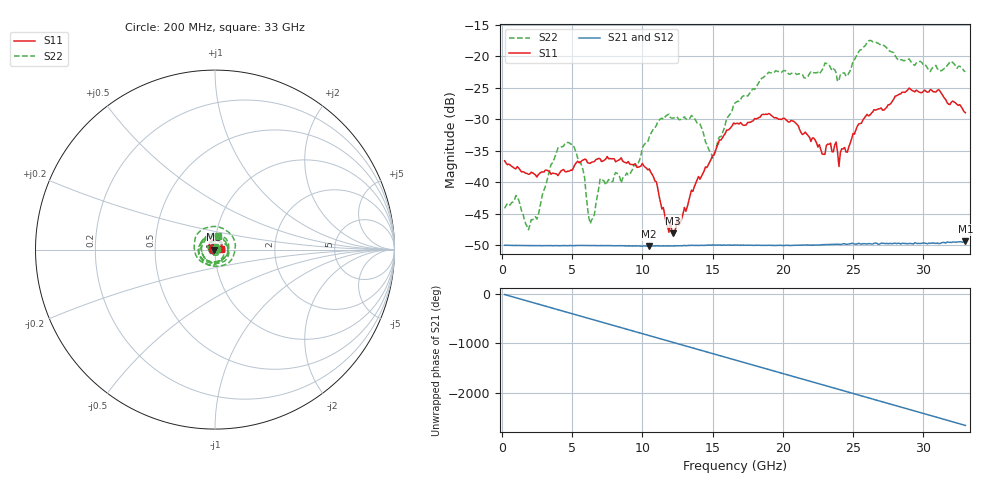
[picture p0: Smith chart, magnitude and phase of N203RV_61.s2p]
# GHZ S RI R 50
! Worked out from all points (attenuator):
!   329 points, 200 MHz to 33 GHz, reference 50 ohm
!   highest |S21| = -49.36 dB at 33 GHz (marker M1); lowest = -50.1 dB at 10.5 GHz (marker M2)
!   lowest |S11| = -48.1 dB at 12.2 GHz (marker M3), VSWR 1.01, Z = 49.6 - j0.0299 ohm
!   |S11| at or under -10 dB: start of sweep to end of sweep
!   |S22| runs from -47.5 to -17.5 dB; largest |S21 - S12| = 7.2e-05
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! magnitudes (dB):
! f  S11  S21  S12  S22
! 200 MHz  -36.6  -50.0  -50.0  -44.1
! 1 GHz  -37.9  -50.0  -50.0  -42.1
! 1.9 GHz  -38.7  -50.0  -50.0  -47.5
! 4 GHz  -38.9  -50.0  -50.0  -34.5
! 5.7 GHz  -36.6  -50.0  -50.0  -37.4
! 6.3 GHz  -37.0  -50.0  -50.0  -46.6
! 7 GHz  -36.3  -50.0  -50.0  -39.4
! 8.5 GHz  -36.1  -50.0  -50.0  -40.1
! 10.5 GHz  -37.9  -50.1  -50.1  -32.8
! 11.2 GHz  -42.2  -50.1  -50.1  -30.1
! 12.2 GHz  -48.1  -50.1  -50.0  -29.8
! 13.6 GHz  -41.5  -50.0  -50.0  -29.6
! 15 GHz  -35.8  -49.9  -49.9  -36.2
! 16.6 GHz  -30.7  -49.9  -49.9  -27.4
! 19 GHz  -29.1  -50.0  -50.0  -22.6
! 22.1 GHz  -33.0  -50.0  -49.9  -22.7
! 23.8 GHz  -33.6  -49.8  -49.8  -22.7
! 24 GHz  -37.5  -49.8  -49.8  -23.9
! 26.1 GHz  -29.5  -49.7  -49.7  -17.6
! 27.6 GHz  -27.7  -49.7  -49.7  -19.2
! 31.1 GHz  -25.3  -49.7  -49.5  -22.3
! 33 GHz  -29.0  -49.4  -49.4  -22.5
